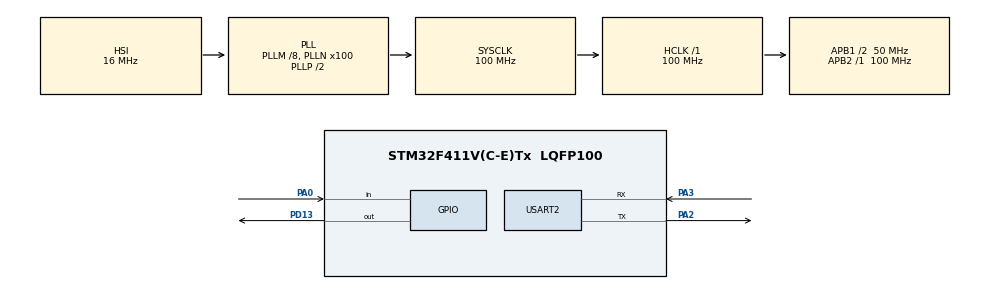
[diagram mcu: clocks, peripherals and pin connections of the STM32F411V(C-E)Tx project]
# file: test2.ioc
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Mcu.Family=STM32F4
RCC.CortexFreq_Value=100000000
FREERTOS.Tasks01=Task1,2,500,button_Task,Default,NULL,Dynamic,NULL,NULL;myTask02,0,500,Led_Task,Default,NULL,Dynamic,NULL,NULL
PH1\ -\ OSC_OUT.Mode=HSE-External-Oscillator
RCC.APB1CLKDivider=RCC_HCLK_DIV2
RCC.SYSCLKSource=RCC_SYSCLKSOURCE_PLLCLK
ProjectManager.StackSize=0x400
PA0-WKUP.Signal=GPIO_Input
PA13.Signal=SYS_JTMS-SWDIO
PD13.Signal=GPIO_Output
PA3.Mode=Asynchronous
PH0\ -\ OSC_IN.Mode=HSE-External-Oscillator
PH0\ -\ OSC_IN.Signal=RCC_OSC_IN
ProjectManager.TargetToolchain=STM32CubeIDE
RCC.HCLKFreq_Value=100000000
RCC.APB2TimFreq_Value=100000000
RCC.LSE_VALUE=32768
RCC.AHBFreq_Value=100000000
RCC.HSE_VALUE=25000000
PH1\ -\ OSC_OUT.Signal=RCC_OSC_OUT
board=custom
RCC.VCOOutputFreq_Value=200000000
RCC.APB2Freq_Value=100000000
PA14.Mode=Serial_Wire
VP_SYS_VS_tim1.Mode=TIM1
VP_FREERTOS_VS_CMSIS_V1.Mode=CMSIS_V1
PA13.Mode=Serial_Wire
Mcu.Name=STM32F411V(C-E)Tx
PA2.Signal=USART2_TX
RCC.48MHZClocksFreq_Value=50000000
RCC.SYSCLKFreq_VALUE=100000000
Mcu.Package=LQFP100
NVIC.TimeBase=TIM1_UP_TIM10_IRQn
USART2.VirtualMode=VM_ASYNC
NVIC.TimeBaseIP=TIM1
PA14.Signal=SYS_JTCK-SWCLK
ProjectManager.HeapSize=0x200
NVIC.TIM1_UP_TIM10_IRQn=true\:0\:0\:false\:false\:true\:false\:false\:true
RCC.HSI_VALUE=16000000
NVIC.PriorityGroup=NVIC_PRIORITYGROUP_4
RCC.PLLM=8
RCC.PLLN=100
RCC.APB1TimFreq_Value=100000000
PA2.Mode=Asynchronous
RCC.APB1Freq_Value=50000000
PA3.Signal=USART2_RX

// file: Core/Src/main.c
/* USER CODE BEGIN Header */
/**
  ******************************************************************************
  * @file           : main.c
  * @brief          : Main program body
  ******************************************************************************
  * @attention
  *
  * <h2><center>&copy; Copyright (c) 2021 STMicroelectronics.
  * All rights reserved.</center></h2>
  *
  * This software component is licensed by ST under BSD 3-Clause license,
  * the "License"; You may not use this file except in compliance with the
  * License. You may obtain a copy of the License at:
  *                        opensource.org/licenses/BSD-3-Clause
  *
  ******************************************************************************
  */
/* USER CODE END Header */
#include "main.h"
#include "cmsis_os.h"

/* USER CODE BEGIN Includes */
#include "stdio.h"
/* USER CODE END Includes */

UART_HandleTypeDef huart2;

osThreadId Task1Handle;
osThreadId myTask02Handle;

void SystemClock_Config(void);
static void MX_GPIO_Init(void);
static void MX_USART2_UART_Init(void);
void button_Task(void const * argument);
void Led_Task(void const * argument);

/* USER CODE BEGIN PFP */
char uart_mes[40];
/* USER CODE END PFP */

/* USER CODE BEGIN 0 */
void send_message(char pmes[]);
/* USER CODE END 0 */

int main(void)
{

  /* MCU Configuration-----------------------------------------------------gg---*/

  /* Reset of all peripherals, Initializes the Flash interface and the Systick. */
  HAL_Init();

  /* Configure the system clock */
  SystemClock_Config();

  /* Initialize all configured peripherals */
  MX_GPIO_Init();
  MX_USART2_UART_Init();

  /* Create the thread(s) */
  /* definition and creation of Task1 */
  osThreadDef(Task1, button_Task, osPriorityNormal, 0, 500);
  Task1Handle = osThreadCreate(osThread(Task1), NULL);

  /* definition and creation of myTask02 */
  osThreadDef(myTask02, Led_Task, osPriorityNormal, 0, 500);
  myTask02Handle = osThreadCreate(osThread(myTask02), NULL);

  /* Start scheduler */
  osKernelStart();

  /* We should never get here as control is now taken by the scheduler */
  /* Infinite loop */
  /* USER CODE BEGIN WHILE */
 sprintf(uart_mes,"\n this is demo taskNotify\r\n");
 HAL_UART_Transmit(&huart2, (uint8_t*)uart_mes,sizeof(uart_mes),500);
  while (1)
  {
    /* USER CODE END WHILE */

  }
}

void SystemClock_Config(void)
{
  RCC_OscInitTypeDef RCC_OscInitStruct = {0};
  RCC_ClkInitTypeDef RCC_ClkInitStruct = {0};

  /** Configure the main internal regulator output voltage
  */
  __HAL_RCC_PWR_CLK_ENABLE();
  __HAL_PWR_VOLTAGESCALING_CONFIG(PWR_REGULATOR_VOLTAGE_SCALE1);
  /** Initializes the RCC Oscillators according to the specified parameters
  * in the RCC_OscInitTypeDef structure.
  */
  RCC_OscInitStruct.OscillatorType = RCC_OSCILLATORTYPE_HSI;
  RCC_OscInitStruct.HSIState = RCC_HSI_ON;
  RCC_OscInitStruct.HSICalibrationValue = RCC_HSICALIBRATION_DEFAULT;
  RCC_OscInitStruct.PLL.PLLState = RCC_PLL_ON;
  RCC_OscInitStruct.PLL.PLLSource = RCC_PLLSOURCE_HSI;
  RCC_OscInitStruct.PLL.PLLM = 8;
  RCC_OscInitStruct.PLL.PLLN = 100;
  RCC_OscInitStruct.PLL.PLLP = RCC_PLLP_DIV2;
  RCC_OscInitStruct.PLL.PLLQ = 4;
  if (HAL_RCC_OscConfig(&RCC_OscInitStruct) != HAL_OK)
  {
    Error_Handler();
  }
  /** Initializes the CPU, AHB and APB buses clocks
  */
  RCC_ClkInitStruct.ClockType = RCC_CLOCKTYPE_HCLK|RCC_CLOCKTYPE_SYSCLK
                              |RCC_CLOCKTYPE_PCLK1|RCC_CLOCKTYPE_PCLK2;
  RCC_ClkInitStruct.SYSCLKSource = RCC_SYSCLKSOURCE_PLLCLK;
  RCC_ClkInitStruct.AHBCLKDivider = RCC_SYSCLK_DIV1;
  RCC_ClkInitStruct.APB1CLKDivider = RCC_HCLK_DIV2;
  RCC_ClkInitStruct.APB2CLKDivider = RCC_HCLK_DIV1;

  if (HAL_RCC_ClockConfig(&RCC_ClkInitStruct, FLASH_LATENCY_3) != HAL_OK)
  {
    Error_Handler();
  }
}

static void MX_USART2_UART_Init(void)
{

  huart2.Instance = USART2;
  huart2.Init.BaudRate = 115200;
  huart2.Init.WordLength = UART_WORDLENGTH_8B;
  huart2.Init.StopBits = UART_STOPBITS_1;
  huart2.Init.Parity = UART_PARITY_NONE;
  huart2.Init.Mode = UART_MODE_TX_RX;
  huart2.Init.HwFlowCtl = UART_HWCONTROL_NONE;
  huart2.Init.OverSampling = UART_OVERSAMPLING_16;
  if (HAL_UART_Init(&huart2) != HAL_OK)
  {
    Error_Handler();
  }

}

static void MX_GPIO_Init(void)
{
  GPIO_InitTypeDef GPIO_InitStruct = {0};

  /* GPIO Ports Clock Enable */
  __HAL_RCC_GPIOH_CLK_ENABLE();
  __HAL_RCC_GPIOA_CLK_ENABLE();
  __HAL_RCC_GPIOD_CLK_ENABLE();

  /*Configure GPIO pin Output Level */
  HAL_GPIO_WritePin(GPIOD, GPIO_PIN_13, GPIO_PIN_RESET);

  /*Configure GPIO pin : PA0 */
  GPIO_InitStruct.Pin = GPIO_PIN_0;
  GPIO_InitStruct.Mode = GPIO_MODE_INPUT;
  GPIO_InitStruct.Pull = GPIO_NOPULL;
  HAL_GPIO_Init(GPIOA, &GPIO_InitStruct);

  /*Configure GPIO pin : PD13 */
  GPIO_InitStruct.Pin = GPIO_PIN_13;
  GPIO_InitStruct.Mode = GPIO_MODE_OUTPUT_PP;
  GPIO_InitStruct.Pull = GPIO_NOPULL;
  GPIO_InitStruct.Speed = GPIO_SPEED_FREQ_LOW;
  HAL_GPIO_Init(GPIOD, &GPIO_InitStruct);

}

void button_Task(void const * argument)
{
  /* USER CODE BEGIN 5 */
	 sprintf(uart_mes,"\n button_task is running \r\n");
	HAL_UART_Transmit(&huart2, (uint8_t*)uart_mes,sizeof(uart_mes),500);
			/* Infinite loop */
  for(;;)
  {
	  if(HAL_GPIO_ReadPin(GPIOA, GPIO_PIN_0)==1)
	  	  {

		  	 while(HAL_GPIO_ReadPin(GPIOA, GPIO_PIN_0));
			 sprintf(uart_mes,"\n button is pressed\r\n");
			 HAL_UART_Transmit(&huart2, (uint8_t*)uart_mes,sizeof(uart_mes),500);
	  		 xTaskNotify(myTask02Handle,0x0,eNoAction);// send notification to the led_task
	  	  }
  }
  /* USER CODE END 5 */
}

void Led_Task(void const * argument)
{
  /* USER CODE BEGIN Led_Task */
	 sprintf(uart_mes,"\n les_task is running \r\n");
	HAL_UART_Transmit(&huart2, (uint8_t*)uart_mes,sizeof(uart_mes),500);
  /* Infinite loop */
  for(;;)
  {

	  //wait until we received notification event from the button_task
    if(xTaskNotifyWait(0,0,NULL,portMAX_DELAY)==pdTRUE)
    {

    	 HAL_Delay(300);
    	 HAL_GPIO_TogglePin(GPIOD, GPIO_PIN_13);
    	 sprintf(uart_mes,"\n Notification is received \r\n");
    	 HAL_UART_Transmit(&huart2, (uint8_t*)uart_mes,sizeof(uart_mes),500);
    }

  }
  /* USER CODE END Led_Task */
}

 /**
  * @brief  Period elapsed callback in non blocking mode
  * @note   This function is called  when TIM1 interrupt took place, inside
  * HAL_TIM_IRQHandler(). It makes a direct call to HAL_IncTick() to increment
  * a global variable "uwTick" used as application time base.
  * @param  htim : TIM handle
  * @retval None
  */
void HAL_TIM_PeriodElapsedCallback(TIM_HandleTypeDef *htim)
{
  if (htim->Instance == TIM1) {
    HAL_IncTick();
  }
}

void Error_Handler(void)
{
  /* USER CODE BEGIN Error_Handler_Handler_Debug */
  /* User can add his own implementation to report the HAL error return state */
  __disable_irq();
  while (1)
  {
  }
  /* USER CODE END Error_Handler_Debug */
}

/************************ (C) COPYRIGHT STMicroelectronics *****END OF FILE****/
